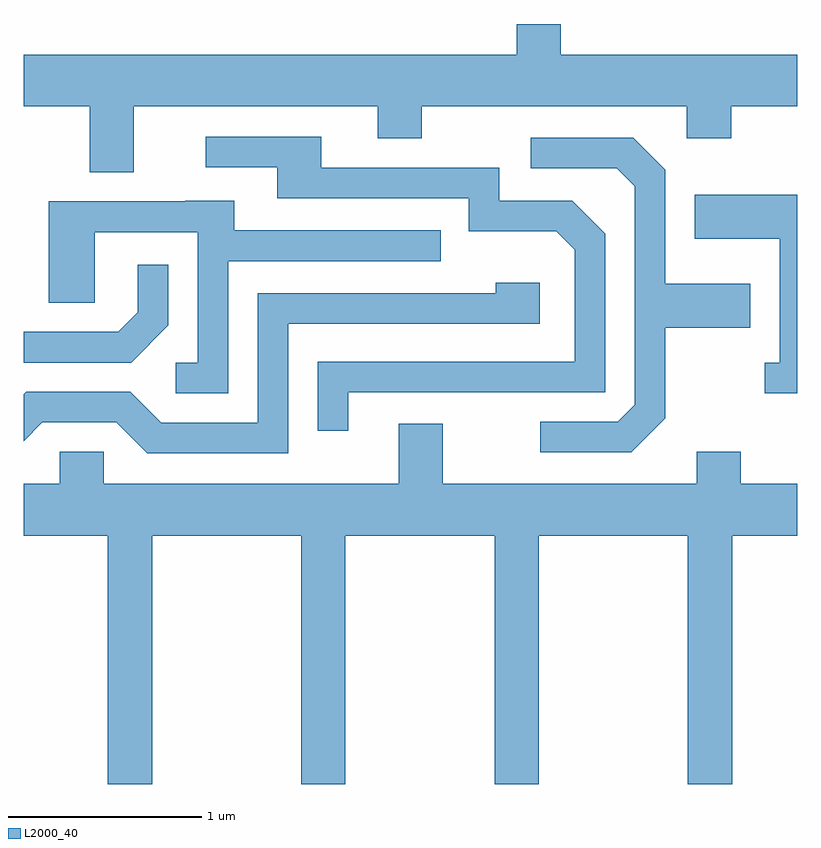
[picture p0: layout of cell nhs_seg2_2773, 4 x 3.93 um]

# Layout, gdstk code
import gdstk
lib = gdstk.Library(unit=1e-6, precision=1e-09)
def P(c, l, *ps):  # polygons
    for p in ps: c.add(gdstk.Polygon(p, *l))
L2000_40 = (2000, 40)

nhs_seg2_2773 = lib.new_cell('nhs_seg2_2773')
P(nhs_seg2_2773, L2000_40, [(266.179,1099.376),(267.441,1099.376),(267.441,1099.211),(267.669,1099.211),(267.669,1099.376),(269.041,1099.376),(269.041,1099.211),(269.269,1099.211),(269.269,1099.376),(269.611,1099.376),(269.611,1099.644),(268.389,1099.644),(268.389,1099.802),(268.161,1099.802),(268.161,1099.644),(265.611,1099.644),(265.611,1099.376),(265.951,1099.376),(265.951,1099.036),(266.179,1099.036)],
  [(267.289,1097.896),(268.619,1097.896),(268.619,1098.717),(268.447,1098.889),(268.069,1098.889),(268.069,1099.059),(267.149,1099.059),(267.149,1099.219),(266.553,1099.219),(266.553,1099.061),(266.921,1099.061),(266.921,1098.901),(267.911,1098.901),(267.911,1098.731),(268.364,1098.731),(268.461,1098.634),(268.461,1098.054),(267.131,1098.054),(267.131,1097.698),(267.289,1097.698)],
  [(268.929,1097.764),(268.929,1098.231),(269.369,1098.231),(269.369,1098.459),(268.929,1098.459),(268.929,1099.047),(268.762,1099.214),(268.233,1099.214),(268.233,1099.056),(268.679,1099.056),(268.771,1098.964),(268.771,1097.832),(268.684,1097.744),(268.283,1097.744),(268.283,1097.586),(268.752,1097.586)],
  [(269.611,1098.919),(269.081,1098.919),(269.081,1098.691),(269.521,1098.691),(269.521,1098.049),(269.443,1098.049),(269.443,1097.891),(269.611,1097.891)],
  [(266.669,1098.576),(267.768,1098.576),(267.768,1098.734),(266.699,1098.734),(266.699,1098.889),(266.445,1098.889),(266.445,1098.884),(265.741,1098.884),(265.741,1098.361),(265.979,1098.361),(265.979,1098.726),(266.511,1098.726),(266.511,1098.049),(266.398,1098.049),(266.398,1097.891),(266.669,1097.891)],
  [(266.359,1098.244),(266.359,1098.558),(266.201,1098.558),(266.201,1098.312),(266.099,1098.209),(265.611,1098.209),(265.611,1098.051),(266.167,1098.051)],
  [(266.979,1098.251),(268.279,1098.251),(268.279,1098.464),(268.051,1098.464),(268.051,1098.409),(266.821,1098.409),(266.821,1097.739),(266.322,1097.739),(266.162,1097.899),(265.624,1097.899),(265.611,1097.886),(265.611,1097.645),(265.707,1097.741),(266.089,1097.741),(266.249,1097.581),(266.979,1097.581)],
  [(266.274,1097.156),(267.046,1097.156),(267.046,1095.871),(267.274,1095.871),(267.274,1097.156),(268.046,1097.156),(268.046,1095.871),(268.274,1095.871),(268.274,1097.156),(269.046,1097.156),(269.046,1095.871),(269.274,1095.871),(269.274,1097.156),(269.611,1097.156),(269.611,1097.424),(269.319,1097.424),(269.319,1097.589),(269.091,1097.589),(269.091,1097.424),(267.779,1097.424),(267.779,1097.734),(267.551,1097.734),(267.551,1097.424),(266.024,1097.424),(266.024,1097.589),(265.796,1097.589),(265.796,1097.424),(265.611,1097.424),(265.611,1097.156),(266.046,1097.156),(266.046,1095.871),(266.274,1095.871)])

lib.write_gds('nhs_seg2_2773.gds')
